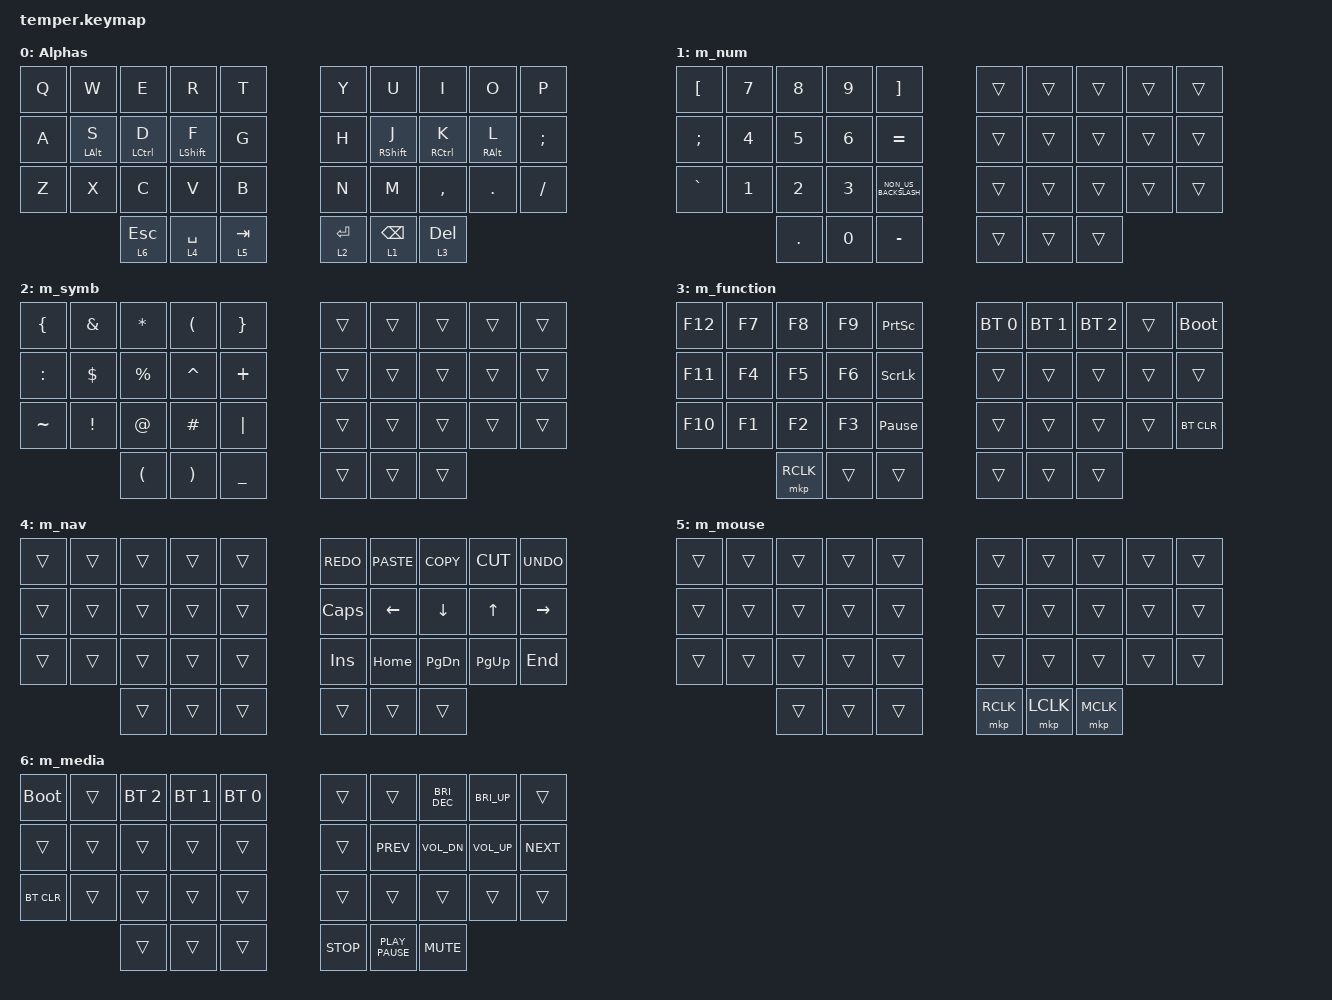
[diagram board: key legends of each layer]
/*
 * Copyright (c) 2020 The ZMK Contributors
 *
 * SPDX-License-Identifier: MIT
 */

#include <behaviors.dtsi>
#include <dt-bindings/zmk/bt.h>
#include <dt-bindings/zmk/keys.h>
#include <dt-bindings/zmk/pointing.h>

#define DEFAULT 0
#define QWERTY 1
#define NUM 2
#define NAV 3
#define FUN 4

/ {
    conditional_layers { compatible = "zmk,conditional-layers"; };

    behaviors {
        bspc_del: backspace_delete {
            compatible = "zmk,behavior-mod-morph";
            #binding-cells = <0>;
            bindings = <&kp BACKSPACE>, <&kp DELETE>;

            mods = <(MOD_LSFT|MOD_RSFT)>;
            keep-mods = <(MOD_RSFT)>;
        };

        super_bspc: super_backspace {
            compatible = "zmk,behavior-mod-morph";
            #binding-cells = <0>;
            bindings = <&kp BACKSPACE>, <&kp LA(BACKSPACE)>;

            mods = <(MOD_LSFT|MOD_RSFT)>;
        };

        smart_shft: smart_shift {
            compatible = "zmk,behavior-mod-morph";
            #binding-cells = <0>;
            bindings = <&kp LSHFT>, <&caps_word>;

            mods = <(MOD_LSFT)>;
        };

        comma_semi: comma_semi {
            compatible = "zmk,behavior-mod-morph";
            #binding-cells = <0>;
            bindings = <&kp COMMA>, <&kp SEMI>;

            mods = <(MOD_LSFT)>;
        };

        dot_colon: dot_colon {
            compatible = "zmk,behavior-mod-morph";
            #binding-cells = <0>;
            bindings = <&kp DOT>, <&kp COLON>;

            mods = <(MOD_LSFT)>;
        };

        qmrk_excl: qmrk_excl {
            compatible = "zmk,behavior-mod-morph";
            #binding-cells = <0>;
            bindings = <&kp QMARK>, <&kp EXCL>;

            mods = <(MOD_LSFT)>;
        };

        slh_morph: slh_morph {
            compatible = "zmk,behavior-mod-morph";
            #binding-cells = <0>;
            bindings = <&kp FSLH>, <&kp BSLH>;

            mods = <(MOD_LSFT)>;
        };

        amps_morph: amps_morph {
            compatible = "zmk,behavior-mod-morph";
            #binding-cells = <0>;
            bindings = <&kp AMPS>, <&kp PIPE>;

            mods = <(MOD_LSFT)>;
        };
    };

    combos { compatible = "zmk,combos"; };

    keymap {
        compatible = "zmk,keymap";

        Alphas {
            bindings = <
  &kp Q  &kp W           &kp E               &kp R             &kp T        &kp Y        &kp U              &kp I                &kp O            &kp P
  &kp A  &mt LEFT_ALT S  &mt LEFT_CONTROL D  &mt LEFT_SHIFT F  &kp G        &kp H        &mt RIGHT_SHIFT J  &mt RIGHT_CONTROL K  &mt RIGHT_ALT L  &kp SEMI
  &kp Z  &kp X           &kp C               &kp V             &kp B        &kp N        &kp M              &kp COMMA            &kp DOT          &kp FSLH
                         &lt 6 ESCAPE        &lt 4 SPACE       &lt 5 TAB    &lt 2 ENTER  &lt 1 BACKSPACE    &lt 3 DELETE
            >;
        };

        m_num {
            bindings = <
  &kp LEFT_BRACKET  &kp N7        &kp N8        &kp N9        &kp RIGHT_BRACKET       &trans  &trans  &trans  &trans  &trans
  &kp SEMICOLON     &kp NUMBER_4  &kp N5        &kp NUMBER_6  &kp EQUAL               &trans  &trans  &trans  &trans  &trans
  &kp GRAVE         &kp NUMBER_1  &kp NUMBER_2  &kp NUMBER_3  &kp NON_US_BACKSLASH    &trans  &trans  &trans  &trans  &trans
                                  &kp PERIOD    &kp N0        &kp MINUS               &trans  &trans  &trans
            >;
        };

        m_symb {
            bindings = <
  &kp LEFT_BRACE  &kp AMPERSAND    &kp ASTERISK          &kp LEFT_PARENTHESIS   &kp RIGHT_BRACE    &trans  &trans  &trans  &trans  &trans
  &kp COLON       &kp DOLLAR       &kp PERCENT           &kp CARET              &kp PLUS           &trans  &trans  &trans  &trans  &trans
  &kp TILDE       &kp EXCLAMATION  &kp AT_SIGN           &kp HASH               &kp PIPE           &trans  &trans  &trans  &trans  &trans
                                   &kp LEFT_PARENTHESIS  &kp RIGHT_PARENTHESIS  &kp UNDERSCORE     &trans  &trans  &trans
            >;
        };

        m_function {
            bindings = <
  &kp F12  &kp F7  &kp F8     &kp F9  &kp PRINTSCREEN    &bt BT_SEL 0  &bt BT_SEL 1  &bt BT_SEL 2  &trans  &bootloader
  &kp F11  &kp F4  &kp F5     &kp F6  &kp SCROLLLOCK     &trans        &trans        &trans        &trans  &trans
  &kp F10  &kp F1  &kp F2     &kp F3  &kp PAUSE_BREAK    &trans        &trans        &trans        &trans  &bt BT_CLR
                   &mkp RCLK  &trans  &trans             &trans        &trans        &trans
            >;
        };

        m_nav {
            bindings = <
  &trans  &trans  &trans  &trans  &trans    &kp K_REDO  &kp K_PASTE  &kp K_COPY     &kp K_CUT    &kp K_UNDO
  &trans  &trans  &trans  &trans  &trans    &kp CLCK    &kp LEFT     &kp DOWN       &kp UP       &kp RIGHT
  &trans  &trans  &trans  &trans  &trans    &kp INSERT  &kp HOME     &kp PAGE_DOWN  &kp PAGE_UP  &kp END
                  &trans  &trans  &trans    &trans      &trans       &trans
            >;
        };

        m_mouse {
            bindings = <
  &trans  &trans  &trans  &trans  &trans    &trans     &trans     &trans     &trans  &trans
  &trans  &trans  &trans  &trans  &trans    &trans     &trans     &trans     &trans  &trans
  &trans  &trans  &trans  &trans  &trans    &trans     &trans     &trans     &trans  &trans
                  &trans  &trans  &trans    &mkp RCLK  &mkp LCLK  &mkp MCLK
            >;
        };

        m_media {
            bindings = <
  &bootloader  &trans  &bt BT_SEL 2  &bt BT_SEL 1  &bt BT_SEL 0    &trans      &trans            &kp C_BRI_DEC  &kp C_BRI_UP     &trans
  &trans       &trans  &trans        &trans        &trans          &trans      &kp K_PREV        &kp C_VOL_DN   &kp C_VOLUME_UP  &kp K_NEXT
  &bt BT_CLR   &trans  &trans        &trans        &trans          &trans      &trans            &trans         &trans           &trans
                       &trans        &trans        &trans          &kp K_STOP  &kp K_PLAY_PAUSE  &kp K_MUTE
            >;
        };
    };
};
